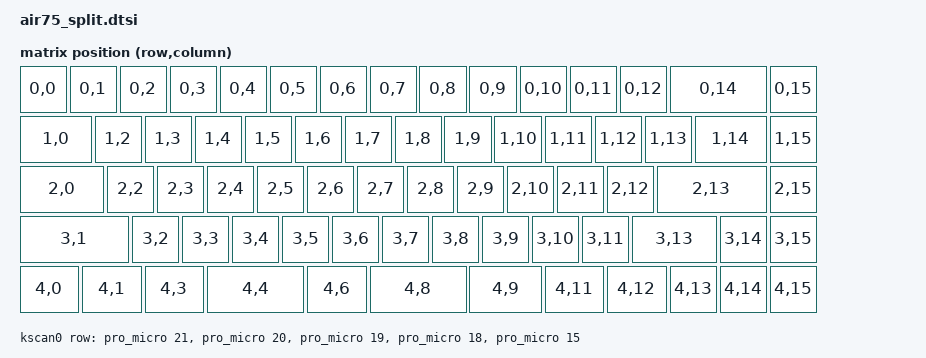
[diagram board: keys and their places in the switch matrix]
/*
 * Air75-style 65% layout (no function row), split into two halves: 70 keys (the 6.25u space becomes two 2u spaces + Fn).
 * Generated by case/gen_zmk.py from case/layout.py. Edit layout.py, not this file.
 *
 * Matrix: 5 rows x 16 columns. Left half owns columns 0-6, right half columns 7-15.
 * Diodes: col2row (switch -> diode anode ... cathode/stripe -> ROW wire).
 */
#include <dt-bindings/zmk/matrix_transform.h>
#include <physical_layouts.dtsi>

/ {
    chosen {
        zmk,kscan = &kscan0;
        zmk,physical-layout = &air75_split_layout;
        zephyr,display = &oled;
    };

    kscan0: kscan0 {
        compatible = "zmk,kscan-gpio-matrix";
        diode-direction = "col2row";
        wakeup-source;

        row-gpios
            = <&pro_micro 21 (GPIO_ACTIVE_HIGH | GPIO_PULL_DOWN)>
            , <&pro_micro 20 (GPIO_ACTIVE_HIGH | GPIO_PULL_DOWN)>
            , <&pro_micro 19 (GPIO_ACTIVE_HIGH | GPIO_PULL_DOWN)>
            , <&pro_micro 18 (GPIO_ACTIVE_HIGH | GPIO_PULL_DOWN)>
            , <&pro_micro 15 (GPIO_ACTIVE_HIGH | GPIO_PULL_DOWN)>
            ;
    };

    default_transform: keymap_transform0 {
        compatible = "zmk,matrix-transform";
        columns = <16>;
        rows = <5>;
        map = <
            RC(0,0) RC(0,1) RC(0,2) RC(0,3) RC(0,4) RC(0,5) RC(0,6) RC(0,7) RC(0,8) RC(0,9) RC(0,10) RC(0,11) RC(0,12) RC(0,14) RC(0,15)
            RC(1,0) RC(1,2) RC(1,3) RC(1,4) RC(1,5) RC(1,6) RC(1,7) RC(1,8) RC(1,9) RC(1,10) RC(1,11) RC(1,12) RC(1,13) RC(1,14) RC(1,15)
            RC(2,0) RC(2,2) RC(2,3) RC(2,4) RC(2,5) RC(2,6) RC(2,7) RC(2,8) RC(2,9) RC(2,10) RC(2,11) RC(2,12) RC(2,13) RC(2,15)
            RC(3,1) RC(3,2) RC(3,3) RC(3,4) RC(3,5) RC(3,6) RC(3,7) RC(3,8) RC(3,9) RC(3,10) RC(3,11) RC(3,13) RC(3,14) RC(3,15)
            RC(4,0) RC(4,1) RC(4,3) RC(4,4) RC(4,6) RC(4,8) RC(4,9) RC(4,11) RC(4,12) RC(4,13) RC(4,14) RC(4,15)
        >;
    };

    air75_split_layout: air75_split_layout {
        compatible = "zmk,physical-layout";
        display-name = "Air75 Split";
        kscan = <&kscan0>;
        transform = <&default_transform>;

        keys  //                     w   h    x    y     rot    rx    ry
            = <&key_physical_attrs 100 100    0    0    0    0    0>
            , <&key_physical_attrs 100 100  100    0    0    0    0>
            , <&key_physical_attrs 100 100  200    0    0    0    0>
            , <&key_physical_attrs 100 100  300    0    0    0    0>
            , <&key_physical_attrs 100 100  400    0    0    0    0>
            , <&key_physical_attrs 100 100  500    0    0    0    0>
            , <&key_physical_attrs 100 100  600    0    0    0    0>
            , <&key_physical_attrs 100 100  700    0    0    0    0>
            , <&key_physical_attrs 100 100  800    0    0    0    0>
            , <&key_physical_attrs 100 100  900    0    0    0    0>
            , <&key_physical_attrs 100 100 1000    0    0    0    0>
            , <&key_physical_attrs 100 100 1100    0    0    0    0>
            , <&key_physical_attrs 100 100 1200    0    0    0    0>
            , <&key_physical_attrs 200 100 1300    0    0    0    0>
            , <&key_physical_attrs 100 100 1500    0    0    0    0>
            , <&key_physical_attrs 150 100    0  100    0    0    0>
            , <&key_physical_attrs 100 100  150  100    0    0    0>
            , <&key_physical_attrs 100 100  250  100    0    0    0>
            , <&key_physical_attrs 100 100  350  100    0    0    0>
            , <&key_physical_attrs 100 100  450  100    0    0    0>
            , <&key_physical_attrs 100 100  550  100    0    0    0>
            , <&key_physical_attrs 100 100  650  100    0    0    0>
            , <&key_physical_attrs 100 100  750  100    0    0    0>
            , <&key_physical_attrs 100 100  850  100    0    0    0>
            , <&key_physical_attrs 100 100  950  100    0    0    0>
            , <&key_physical_attrs 100 100 1050  100    0    0    0>
            , <&key_physical_attrs 100 100 1150  100    0    0    0>
            , <&key_physical_attrs 100 100 1250  100    0    0    0>
            , <&key_physical_attrs 150 100 1350  100    0    0    0>
            , <&key_physical_attrs 100 100 1500  100    0    0    0>
            , <&key_physical_attrs 175 100    0  200    0    0    0>
            , <&key_physical_attrs 100 100  175  200    0    0    0>
            , <&key_physical_attrs 100 100  275  200    0    0    0>
            , <&key_physical_attrs 100 100  375  200    0    0    0>
            , <&key_physical_attrs 100 100  475  200    0    0    0>
            , <&key_physical_attrs 100 100  575  200    0    0    0>
            , <&key_physical_attrs 100 100  675  200    0    0    0>
            , <&key_physical_attrs 100 100  775  200    0    0    0>
            , <&key_physical_attrs 100 100  875  200    0    0    0>
            , <&key_physical_attrs 100 100  975  200    0    0    0>
            , <&key_physical_attrs 100 100 1075  200    0    0    0>
            , <&key_physical_attrs 100 100 1175  200    0    0    0>
            , <&key_physical_attrs 225 100 1275  200    0    0    0>
            , <&key_physical_attrs 100 100 1500  200    0    0    0>
            , <&key_physical_attrs 225 100    0  300    0    0    0>
            , <&key_physical_attrs 100 100  225  300    0    0    0>
            , <&key_physical_attrs 100 100  325  300    0    0    0>
            , <&key_physical_attrs 100 100  425  300    0    0    0>
            , <&key_physical_attrs 100 100  525  300    0    0    0>
            , <&key_physical_attrs 100 100  625  300    0    0    0>
            , <&key_physical_attrs 100 100  725  300    0    0    0>
            , <&key_physical_attrs 100 100  825  300    0    0    0>
            , <&key_physical_attrs 100 100  925  300    0    0    0>
            , <&key_physical_attrs 100 100 1025  300    0    0    0>
            , <&key_physical_attrs 100 100 1125  300    0    0    0>
            , <&key_physical_attrs 175 100 1225  300    0    0    0>
            , <&key_physical_attrs 100 100 1400  300    0    0    0>
            , <&key_physical_attrs 100 100 1500  300    0    0    0>
            , <&key_physical_attrs 125 100    0  400    0    0    0>
            , <&key_physical_attrs 125 100  125  400    0    0    0>
            , <&key_physical_attrs 125 100  250  400    0    0    0>
            , <&key_physical_attrs 200 100  375  400    0    0    0>
            , <&key_physical_attrs 125 100  575  400    0    0    0>
            , <&key_physical_attrs 200 100  700  400    0    0    0>
            , <&key_physical_attrs 150 100  900  400    0    0    0>
            , <&key_physical_attrs 125 100 1050  400    0    0    0>
            , <&key_physical_attrs 125 100 1175  400    0    0    0>
            , <&key_physical_attrs 100 100 1300  400    0    0    0>
            , <&key_physical_attrs 100 100 1400  400    0    0    0>
            , <&key_physical_attrs 100 100 1500  400    0    0    0>
            ;
    };
};

/* 0.91" 128 x 32 SSD1306 OLED on each half, on the SuperMini's I2C pins (D2 = SDA, D3 = SCL). */
&pro_micro_i2c {
    status = "okay";
    clock-frequency = <400000>;   /* 400 kHz fast mode: a full frame takes ~12 ms instead of ~46 ms at the default */

    oled: ssd1306@3c {
        compatible = "solomon,ssd1306fb";
        reg = <0x3c>;
        width = <128>;
        height = <32>;
        segment-offset = <0>;
        page-offset = <0>;
        display-offset = <0>;
        multiplex-ratio = <31>;
        segment-remap;
        com-invdir;
        com-sequential;
        inversion-on;
        prechargep = <0x22>;
    };
};
